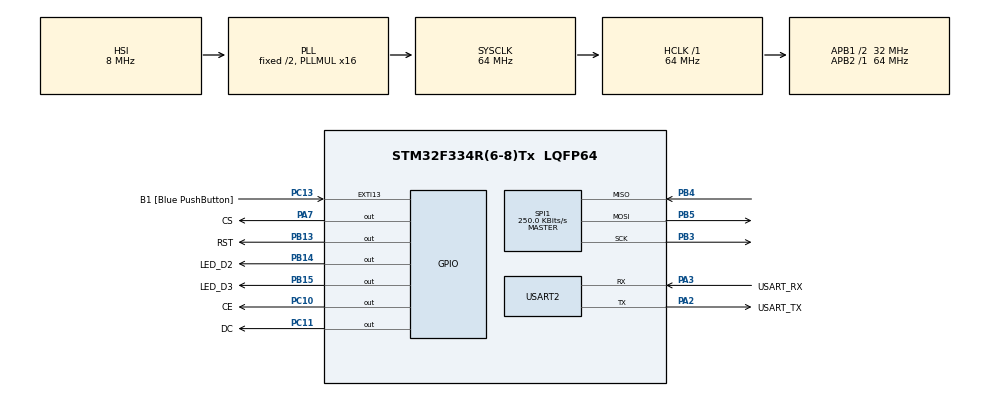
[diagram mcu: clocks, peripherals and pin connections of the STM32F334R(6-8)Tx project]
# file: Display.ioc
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Mcu.Family=STM32F3
Mcu.Name=STM32F334R(6-8)Tx
Mcu.Package=LQFP64
NVIC.PriorityGroup=NVIC_PRIORITYGROUP_0
PA13.GPIO_Label=TMS
PA13.Mode=Serial_Wire
PA13.Signal=SYS_JTMS-SWDIO
PA14.GPIO_Label=TCK
PA14.Mode=Serial_Wire
PA14.Signal=SYS_JTCK-SWCLK
PA2.GPIO_Label=USART_TX
PA2.Mode=Asynchronous
PA2.Signal=USART2_TX
PA3.GPIO_Label=USART_RX
PA3.Mode=Asynchronous
PA3.Signal=USART2_RX
PA7.GPIO_Label=CS
PA7.Signal=GPIO_Output
PB13.GPIO_Label=RST
PB13.Signal=GPIO_Output
PB14.GPIO_Label=LED_D2
PB14.Signal=GPIO_Output
PB15.GPIO_Label=LED_D3
PB15.Signal=GPIO_Output
PB3.Mode=Full_Duplex_Master
PB3.Signal=SPI1_SCK
PB4.Mode=Full_Duplex_Master
PB4.Signal=SPI1_MISO
PB5.Mode=Full_Duplex_Master
PB5.Signal=SPI1_MOSI
PC10.GPIO_Label=CE
PC10.Signal=GPIO_Output
PC11.GPIO_Label=DC
PC11.Signal=GPIO_Output
PC13.GPIO_Label=B1 [Blue PushButton]
PC13.GPIO_ModeDefaultEXTI=GPIO_MODE_IT_FALLING
PC13.Signal=GPXTI13
PC14\ /\ OSC32_IN.Mode=LSE-External-Oscillator
PC14\ /\ OSC32_IN.Signal=RCC_OSC32_IN
PC15\ /\ OSC32_OUT.GPIO_Label=RCC_OSC32_OUT
PC15\ /\ OSC32_OUT.Mode=LSE-External-Oscillator
PC15\ /\ OSC32_OUT.Signal=RCC_OSC32_OUT
PF0\ /\ OSC_IN.Mode=HSE-External-Clock-Source
PF0\ /\ OSC_IN.Signal=RCC_OSC_IN
PF1\ /\ OSC_OUT.Signal=RCC_OSC_OUT
ProjectManager.HeapSize=0x200
ProjectManager.StackSize=0x400
ProjectManager.TargetToolchain=STM32CubeIDE
RCC.AHBFreq_Value=64000000
RCC.APB1CLKDivider=RCC_HCLK_DIV2
RCC.APB1Freq_Value=32000000
RCC.APB1TimFreq_Value=64000000
RCC.APB2Freq_Value=64000000
RCC.APB2TimFreq_Value=64000000
RCC.CortexFreq_Value=64000000
RCC.FLatency-AdvancedSettings=FLASH_LATENCY_2
RCC.HCLKFreq_Value=64000000
RCC.HSE_VALUE=8000000
RCC.HSI_VALUE=8000000
RCC.PLLMUL=RCC_PLL_MUL16
RCC.SYSCLKFreq_VALUE=64000000
RCC.SYSCLKSourceVirtual=RCC_SYSCLKSOURCE_PLLCLK
SPI1.BaudRatePrescaler=SPI_BAUDRATEPRESCALER_256
SPI1.CalculateBaudRate=250.0 KBits/s
SPI1.DataSize=SPI_DATASIZE_8BIT
SPI1.Direction=SPI_DIRECTION_2LINES
SPI1.Mode=SPI_MODE_MASTER
SPI1.VirtualType=VM_MASTER
USART2.VirtualMode-Asynchronous=VM_ASYNC
board=NUCLEO-F334R8

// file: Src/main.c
/* USER CODE BEGIN Header */
/**
  ******************************************************************************
  * @file           : main.c
  * @brief          : Main program body
  ******************************************************************************
  * @attention
  *
  * <h2><center>&copy; Copyright (c) 2019 STMicroelectronics.
  * All rights reserved.</center></h2>
  *
  * This software component is licensed by ST under BSD 3-Clause license,
  * the "License"; You may not use this file except in compliance with the
  * License. You may obtain a copy of the License at:
  *                        opensource.org/licenses/BSD-3-Clause
  *
  ******************************************************************************
  */
/* USER CODE END Header */

#include "main.h"

/* USER CODE BEGIN Includes */
#include "stm32f3xx_hal.h"
#include "user_5110.h"
/* USER CODE END Includes */

SPI_HandleTypeDef hspi1;

UART_HandleTypeDef huart2;

/* USER CODE BEGIN PV */
int init=0;
uint8_t buffer[50];
/* USER CODE END PV */

void SystemClock_Config(void);
static void MX_GPIO_Init(void);
static void MX_USART2_UART_Init(void);
static void MX_SPI1_Init(void);

int main(void)
{

  /* MCU Configuration--------------------------------------------------------*/

  /* Reset of all peripherals, Initializes the Flash interface and the Systick. */
  HAL_Init();

  /* Configure the system clock */
  SystemClock_Config();

  /* Initialize all configured peripherals */
  MX_GPIO_Init();
  MX_USART2_UART_Init();
  MX_SPI1_Init();
  /* USER CODE BEGIN 2 */
  LCD_Init();

  /* USER CODE END 2 */

  /* Infinite loop */
  while (1)
  {

    /* USER CODE BEGIN 3 */
	  HAL_GPIO_WritePin(GPIOA, GPIO_PIN_7, 0);
	  init = 0xE;
	  HAL_SPI_Transmit(&hspi1, &init, 1, 1000);
	  HAL_SPI_Receive(&hspi1, &init, 1, 1000);

	  HAL_GPIO_WritePin(GPIOA, GPIO_PIN_7, 1);
	  itoa(init, (uint8_t*)buffer, 10);

	  HAL_UART_Transmit(&huart2, "Valor lido:", 12, 100);
	  HAL_UART_Transmit(&huart2, (uint8_t*)buffer, 3, 100);
	  HAL_UART_Transmit(&huart2, "\n\r", 2, 100);
	  HAL_Delay(1000);

	  LCD_Write_String(0, 0, buffer);
	  HAL_Delay(100);

  }
  /* USER CODE END 3 */
}

void SystemClock_Config(void)
{
  RCC_OscInitTypeDef RCC_OscInitStruct = {0};
  RCC_ClkInitTypeDef RCC_ClkInitStruct = {0};

  /** Initializes the CPU, AHB and APB busses clocks
  */
  RCC_OscInitStruct.OscillatorType = RCC_OSCILLATORTYPE_HSI;
  RCC_OscInitStruct.HSIState = RCC_HSI_ON;
  RCC_OscInitStruct.HSICalibrationValue = RCC_HSICALIBRATION_DEFAULT;
  RCC_OscInitStruct.PLL.PLLState = RCC_PLL_ON;
  RCC_OscInitStruct.PLL.PLLSource = RCC_PLLSOURCE_HSI;
  RCC_OscInitStruct.PLL.PLLMUL = RCC_PLL_MUL16;
  if (HAL_RCC_OscConfig(&RCC_OscInitStruct) != HAL_OK)
  {
    Error_Handler();
  }
  /** Initializes the CPU, AHB and APB busses clocks
  */
  RCC_ClkInitStruct.ClockType = RCC_CLOCKTYPE_HCLK|RCC_CLOCKTYPE_SYSCLK
                              |RCC_CLOCKTYPE_PCLK1|RCC_CLOCKTYPE_PCLK2;
  RCC_ClkInitStruct.SYSCLKSource = RCC_SYSCLKSOURCE_PLLCLK;
  RCC_ClkInitStruct.AHBCLKDivider = RCC_SYSCLK_DIV1;
  RCC_ClkInitStruct.APB1CLKDivider = RCC_HCLK_DIV2;
  RCC_ClkInitStruct.APB2CLKDivider = RCC_HCLK_DIV1;

  if (HAL_RCC_ClockConfig(&RCC_ClkInitStruct, FLASH_LATENCY_2) != HAL_OK)
  {
    Error_Handler();
  }
}

static void MX_SPI1_Init(void)
{

  /* SPI1 parameter configuration*/
  hspi1.Instance = SPI1;
  hspi1.Init.Mode = SPI_MODE_MASTER;
  hspi1.Init.Direction = SPI_DIRECTION_2LINES;
  hspi1.Init.DataSize = SPI_DATASIZE_8BIT;
  hspi1.Init.CLKPolarity = SPI_POLARITY_LOW;
  hspi1.Init.CLKPhase = SPI_PHASE_1EDGE;
  hspi1.Init.NSS = SPI_NSS_SOFT;
  hspi1.Init.BaudRatePrescaler = SPI_BAUDRATEPRESCALER_256;
  hspi1.Init.FirstBit = SPI_FIRSTBIT_MSB;
  hspi1.Init.TIMode = SPI_TIMODE_DISABLE;
  hspi1.Init.CRCCalculation = SPI_CRCCALCULATION_DISABLE;
  hspi1.Init.CRCPolynomial = 7;
  hspi1.Init.CRCLength = SPI_CRC_LENGTH_DATASIZE;
  hspi1.Init.NSSPMode = SPI_NSS_PULSE_ENABLE;
  if (HAL_SPI_Init(&hspi1) != HAL_OK)
  {
    Error_Handler();
  }

}

static void MX_USART2_UART_Init(void)
{

  huart2.Instance = USART2;
  huart2.Init.BaudRate = 38400;
  huart2.Init.WordLength = UART_WORDLENGTH_8B;
  huart2.Init.StopBits = UART_STOPBITS_1;
  huart2.Init.Parity = UART_PARITY_NONE;
  huart2.Init.Mode = UART_MODE_TX_RX;
  huart2.Init.HwFlowCtl = UART_HWCONTROL_NONE;
  huart2.Init.OverSampling = UART_OVERSAMPLING_16;
  huart2.Init.OneBitSampling = UART_ONE_BIT_SAMPLE_DISABLE;
  huart2.AdvancedInit.AdvFeatureInit = UART_ADVFEATURE_NO_INIT;
  if (HAL_UART_Init(&huart2) != HAL_OK)
  {
    Error_Handler();
  }

}

static void MX_GPIO_Init(void)
{
  GPIO_InitTypeDef GPIO_InitStruct = {0};

  /* GPIO Ports Clock Enable */
  __HAL_RCC_GPIOC_CLK_ENABLE();
  __HAL_RCC_GPIOF_CLK_ENABLE();
  __HAL_RCC_GPIOA_CLK_ENABLE();
  __HAL_RCC_GPIOB_CLK_ENABLE();

  /*Configure GPIO pin Output Level */
  HAL_GPIO_WritePin(CS_GPIO_Port, CS_Pin, GPIO_PIN_SET);

  /*Configure GPIO pin Output Level */
  HAL_GPIO_WritePin(GPIOB, RST_Pin|LED_D2_Pin|LED_D3_Pin, GPIO_PIN_RESET);

  /*Configure GPIO pin Output Level */
  HAL_GPIO_WritePin(GPIOC, CE_Pin|DC_Pin, GPIO_PIN_RESET);

  /*Configure GPIO pin : B1_Pin */
  GPIO_InitStruct.Pin = B1_Pin;
  GPIO_InitStruct.Mode = GPIO_MODE_IT_FALLING;
  GPIO_InitStruct.Pull = GPIO_NOPULL;
  HAL_GPIO_Init(B1_GPIO_Port, &GPIO_InitStruct);

  /*Configure GPIO pin : CS_Pin */
  GPIO_InitStruct.Pin = CS_Pin;
  GPIO_InitStruct.Mode = GPIO_MODE_OUTPUT_PP;
  GPIO_InitStruct.Pull = GPIO_NOPULL;
  GPIO_InitStruct.Speed = GPIO_SPEED_FREQ_LOW;
  HAL_GPIO_Init(CS_GPIO_Port, &GPIO_InitStruct);

  /*Configure GPIO pins : RST_Pin LED_D2_Pin LED_D3_Pin */
  GPIO_InitStruct.Pin = RST_Pin|LED_D2_Pin|LED_D3_Pin;
  GPIO_InitStruct.Mode = GPIO_MODE_OUTPUT_PP;
  GPIO_InitStruct.Pull = GPIO_NOPULL;
  GPIO_InitStruct.Speed = GPIO_SPEED_FREQ_LOW;
  HAL_GPIO_Init(GPIOB, &GPIO_InitStruct);

  /*Configure GPIO pins : CE_Pin DC_Pin */
  GPIO_InitStruct.Pin = CE_Pin|DC_Pin;
  GPIO_InitStruct.Mode = GPIO_MODE_OUTPUT_PP;
  GPIO_InitStruct.Pull = GPIO_NOPULL;
  GPIO_InitStruct.Speed = GPIO_SPEED_FREQ_LOW;
  HAL_GPIO_Init(GPIOC, &GPIO_InitStruct);

}

void Error_Handler(void)
{
}

/************************ (C) COPYRIGHT STMicroelectronics *****END OF FILE****/
